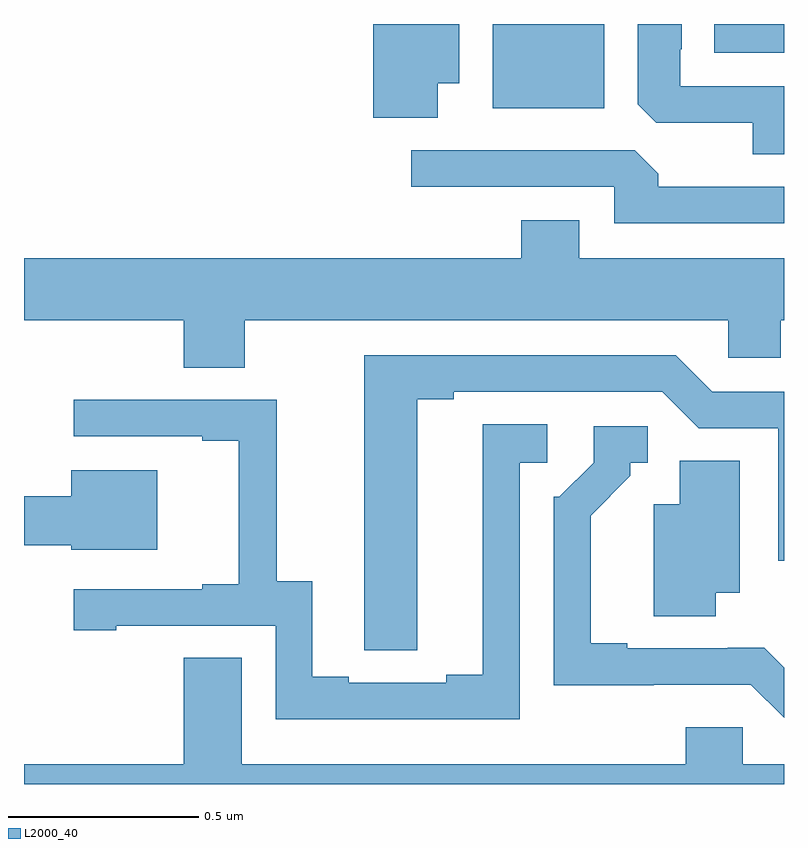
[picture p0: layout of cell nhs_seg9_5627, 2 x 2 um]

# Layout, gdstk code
import gdstk
lib = gdstk.Library(unit=1e-6, precision=1e-09)
def R(c, l, rs):  # rectangles x0, y0, x1, y1
    for r in rs: c.add(gdstk.rectangle(r[:2], r[2:], *l))
def P(c, l, *ps):  # polygons
    for p in ps: c.add(gdstk.Polygon(p, *l))
L2000_40 = (2000, 40)

nhs_seg9_5627 = lib.new_cell('nhs_seg9_5627')
R(nhs_seg9_5627, L2000_40, [(182.234,1230.278,182.527,1230.5), (182.816,1230.425,183,1230.5)])
P(nhs_seg9_5627, L2000_40, [(183,1230.336),(182.727,1230.336),(182.727,1230.433),(182.731,1230.433),(182.731,1230.5),(182.615,1230.5),(182.615,1230.289),(182.664,1230.24),(182.918,1230.24),(182.918,1230.157),(183,1230.157)],
  [(182.089,1230.344),(182.146,1230.344),(182.146,1230.5),(181.919,1230.5),(181.919,1230.253),(182.089,1230.253)],
  [(183,1230.072),(182.669,1230.072),(182.669,1230.106),(182.607,1230.168),(182.019,1230.168),(182.019,1230.072),(182.553,1230.072),(182.553,1229.976),(183,1229.976)],
  [(181.581,1229.72),(182.853,1229.72),(182.853,1229.622),(182.991,1229.622),(182.991,1229.72),(183,1229.72),(183,1229.884),(182.461,1229.884),(182.461,1229.983),(182.309,1229.983),(182.309,1229.884),(181,1229.884),(181,1229.72),(181.421,1229.72),(181.421,1229.596),(181.581,1229.596)],
  [(182.035,1229.512),(182.131,1229.512),(182.131,1229.532),(182.679,1229.532),(182.775,1229.436),(182.985,1229.436),(182.985,1229.088),(183,1229.088),(183,1229.532),(182.811,1229.532),(182.715,1229.628),(181.895,1229.628),(181.895,1228.96),(181.896,1228.96),(181.896,1228.852),(182.035,1228.852)],
  [(182.304,1229.346),(182.377,1229.346),(182.377,1229.447),(182.207,1229.447),(182.207,1228.787),(182.111,1228.787),(182.111,1228.767),(181.855,1228.767),(181.855,1228.782),(181.759,1228.782),(181.759,1229.033),(181.665,1229.033),(181.665,1229.511),(181.131,1229.511),(181.131,1229.415),(181.469,1229.415),(181.469,1229.403),(181.565,1229.403),(181.565,1229.026),(181.469,1229.026),(181.469,1229.013),(181.131,1229.013),(181.131,1228.905),(181.243,1228.905),(181.243,1228.917),(181.662,1228.917),(181.662,1228.671),(182.304,1228.671)],
  [(183,1228.806),(182.948,1228.858),(182.852,1228.858),(182.852,1228.857),(182.587,1228.857),(182.587,1228.87),(182.491,1228.87),(182.491,1229.206),(182.596,1229.311),(182.596,1229.346),(182.641,1229.346),(182.641,1229.442),(182.499,1229.442),(182.499,1229.346),(182.409,1229.256),(182.394,1229.256),(182.394,1228.76),(182.657,1228.76),(182.657,1228.761),(182.913,1228.761),(183,1228.674)],
  [(182.821,1229.003),(182.884,1229.003),(182.884,1229.351),(182.726,1229.351),(182.726,1229.236),(182.657,1229.236),(182.657,1228.942),(182.821,1228.942)],
  [(181.351,1229.326),(181.124,1229.326),(181.124,1229.257),(181,1229.257),(181,1229.128),(181.124,1229.128),(181.124,1229.117),(181.351,1229.117)],
  [(183,1228.552),(182.892,1228.552),(182.892,1228.65),(182.741,1228.65),(182.741,1228.552),(181.573,1228.552),(181.573,1228.832),(181.421,1228.832),(181.421,1228.552),(181,1228.552),(181,1228.5),(183,1228.5)])

lib.write_gds('nhs_seg9_5627.gds')
